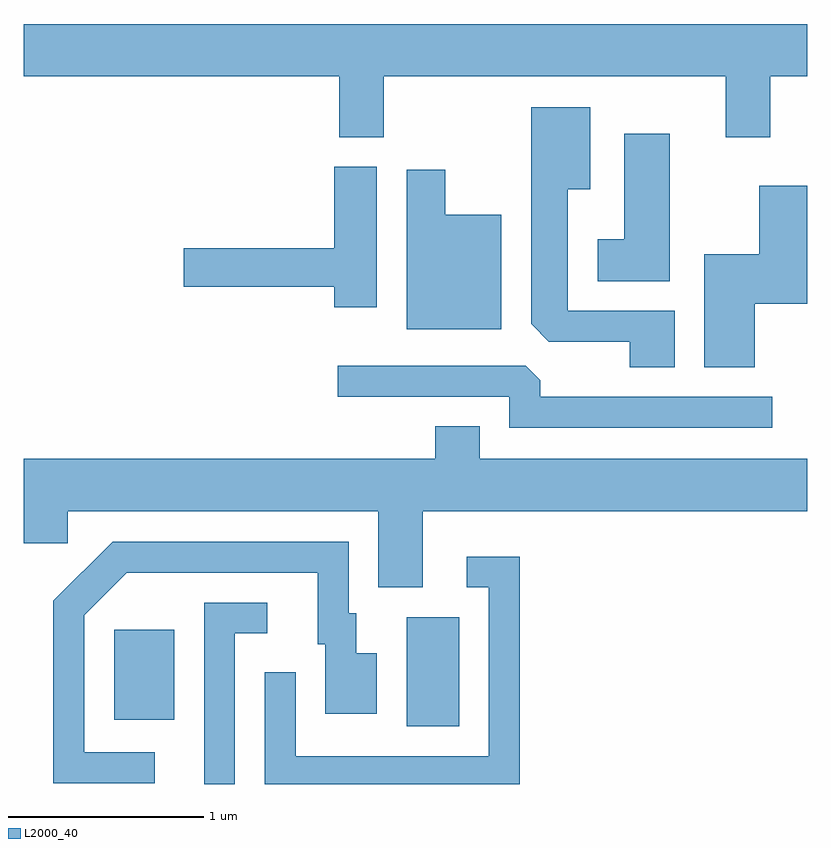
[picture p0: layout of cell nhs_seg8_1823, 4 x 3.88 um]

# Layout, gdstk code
import gdstk
lib = gdstk.Library(unit=1e-6, precision=1e-09)
def R(c, l, rs):  # rectangles x0, y0, x1, y1
    for r in rs: c.add(gdstk.rectangle(r[:2], r[2:], *l))
def P(c, l, *ps):  # polygons
    for p in ps: c.add(gdstk.Polygon(p, *l))
L2000_40 = (2000, 40)

nhs_seg8_1823 = lib.new_cell('nhs_seg8_1823')
R(nhs_seg8_1823, L2000_40, [(241.566,1848.636,241.834,1849.194), (240.071,1848.671,240.379,1849.129)])
P(nhs_seg8_1823, L2000_40, [(241.449,1851.956),(243.196,1851.956),(243.196,1851.646),(243.424,1851.646),(243.424,1851.956),(243.611,1851.956),(243.611,1852.224),(239.611,1852.224),(239.611,1851.956),(241.221,1851.956),(241.221,1851.646),(241.449,1851.646)],
  [(242.934,1850.759),(242.389,1850.759),(242.389,1851.381),(242.504,1851.381),(242.504,1851.799),(242.201,1851.799),(242.201,1850.692),(242.292,1850.601),(242.706,1850.601),(242.706,1850.471),(242.934,1850.471)],
  [(242.909,1851.664),(242.676,1851.664),(242.676,1851.124),(242.541,1851.124),(242.541,1850.911),(242.909,1850.911)],
  [(241.414,1851.494),(241.196,1851.494),(241.196,1851.079),(240.426,1851.079),(240.426,1850.881),(241.196,1850.881),(241.196,1850.776),(241.414,1850.776)],
  [(242.049,1851.249),(241.764,1851.249),(241.764,1851.479),(241.566,1851.479),(241.566,1850.666),(242.049,1850.666)],
  [(243.344,1850.796),(243.611,1850.796),(243.611,1851.399),(243.366,1851.399),(243.366,1851.049),(243.086,1851.049),(243.086,1850.471),(243.344,1850.471)],
  [(243.433,1850.319),(242.249,1850.319),(242.249,1850.404),(242.174,1850.479),(241.213,1850.479),(241.213,1850.321),(242.091,1850.321),(242.091,1850.161),(243.433,1850.161)],
  [(241.649,1849.736),(243.611,1849.736),(243.611,1850.004),(241.939,1850.004),(241.939,1850.169),(241.711,1850.169),(241.711,1850.004),(239.611,1850.004),(239.611,1849.571),(239.834,1849.571),(239.834,1849.736),(241.421,1849.736),(241.421,1849.346),(241.649,1849.346)],
  [(240.278,1848.504),(239.919,1848.504),(239.919,1849.204),(240.137,1849.421),(241.111,1849.421),(241.111,1849.056),(241.151,1849.056),(241.151,1848.701),(241.414,1848.701),(241.414,1849.009),(241.309,1849.009),(241.309,1849.214),(241.269,1849.214),(241.269,1849.579),(240.064,1849.579),(239.761,1849.277),(239.761,1848.346),(240.278,1848.346)],
  [(242.144,1849.504),(241.873,1849.504),(241.873,1849.346),(241.986,1849.346),(241.986,1848.484),(240.999,1848.484),(240.999,1848.913),(240.841,1848.913),(240.841,1848.342),(242.144,1848.342)],
  [(240.689,1849.111),(240.853,1849.111),(240.853,1849.269),(240.531,1849.269),(240.531,1848.342),(240.689,1848.342)])

lib.write_gds('nhs_seg8_1823.gds')
